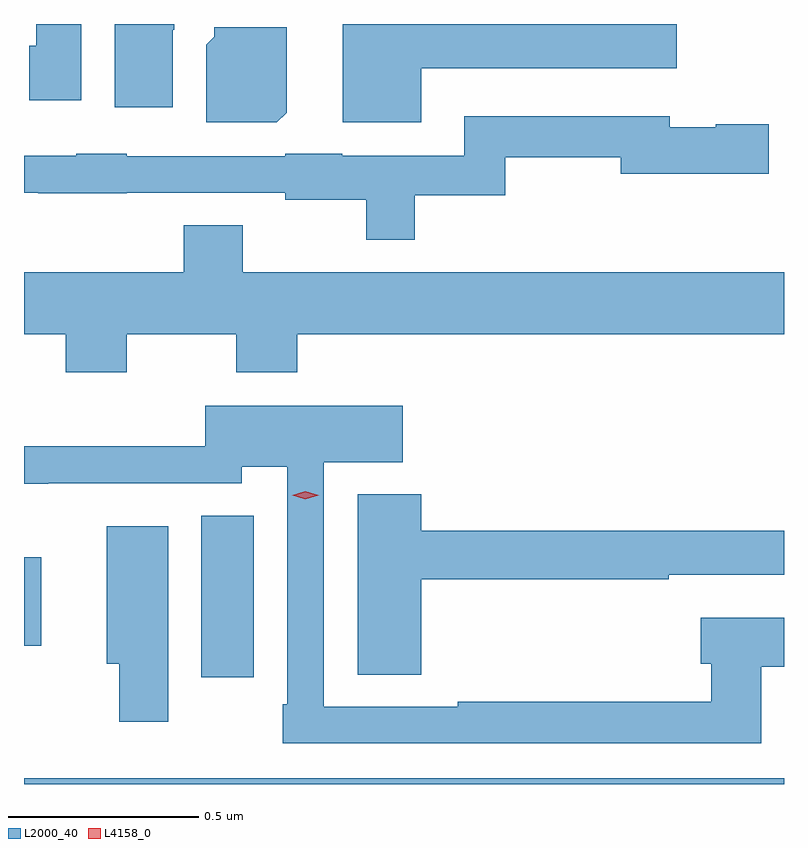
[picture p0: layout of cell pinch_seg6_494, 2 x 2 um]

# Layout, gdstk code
import gdstk
lib = gdstk.Library(unit=1e-6, precision=1e-09)
def R(c, l, rs):  # rectangles x0, y0, x1, y1
    for r in rs: c.add(gdstk.rectangle(r[:2], r[2:], *l))
def P(c, l, *ps):  # polygons
    for p in ps: c.add(gdstk.Polygon(p, *l))
L2000_40 = (2000, 40)
L4158_0 = (4158, 0)

pinch_seg6_494 = lib.new_cell('pinch_seg6_494')
R(pinch_seg6_494, L2000_40, [(831.993,938.161,833.993,938.176), (832.46,938.442,832.597,938.867), (831.993,938.525,832.039,938.758)])
P(pinch_seg6_494, L2000_40, [(833.038,940.044),(833.711,940.044),(833.711,940.161),(833.579,940.161),(833.579,940.16),(833.038,940.16),(833.038,940.161),(832.832,940.161),(832.832,939.902),(833.038,939.902)],
  [(832.144,940.161),(832.025,940.161),(832.025,940.104),(832.007,940.104),(832.007,939.96),(832.144,939.96)],
  [(832.384,940.146),(832.388,940.146),(832.388,940.161),(832.232,940.161),(832.232,939.942),(832.384,939.942)],
  [(832.684,939.928),(832.684,940.153),(832.494,940.153),(832.494,940.128),(832.472,940.106),(832.472,939.902),(832.658,939.902)],
  [(833.021,939.71),(833.26,939.71),(833.26,939.81),(833.564,939.81),(833.564,939.767),(833.953,939.767),(833.953,939.897),(833.814,939.897),(833.814,939.889),(833.692,939.889),(833.692,939.918),(833.151,939.918),(833.151,939.814),(832.83,939.814),(832.83,939.82),(832.68,939.82),(832.68,939.813),(832.263,939.813),(832.263,939.82),(832.131,939.82),(832.131,939.814),(831.993,939.814),(831.993,939.717),(832.031,939.717),(832.031,939.716),(832.263,939.716),(832.263,939.717),(832.68,939.717),(832.68,939.698),(832.893,939.698),(832.893,939.593),(833.021,939.593)],
  [(832.263,939.344),(832.552,939.344),(832.552,939.245),(832.712,939.245),(832.712,939.344),(833.993,939.344),(833.993,939.508),(832.569,939.508),(832.569,939.632),(832.414,939.632),(832.414,939.508),(831.993,939.508),(831.993,939.344),(832.103,939.344),(832.103,939.245),(832.263,939.245)],
  [(833.933,938.47),(833.993,938.47),(833.993,938.599),(833.774,938.599),(833.774,938.477),(833.801,938.477),(833.801,938.377),(833.134,938.377),(833.134,938.364),(832.782,938.364),(832.782,939.008),(832.99,939.008),(832.99,939.157),(832.47,939.157),(832.47,939.05),(831.993,939.05),(831.993,938.951),(832.057,938.951),(832.057,938.952),(832.566,938.952),(832.566,938.996),(832.686,938.996),(832.686,938.371),(832.674,938.371),(832.674,938.268),(833.933,938.268)],
  [(833.038,938.7),(833.69,938.7),(833.69,938.712),(833.993,938.712),(833.993,938.828),(833.038,938.828),(833.038,938.923),(832.871,938.923),(832.871,938.449),(833.038,938.449)],
  [(832.372,938.839),(832.211,938.839),(832.211,938.477),(832.243,938.477),(832.243,938.325),(832.372,938.325)])
P(pinch_seg6_494, L4158_0, [(832.733,938.911),(832.699,938.921),(832.698,938.921),(832.699,938.921),(832.733,938.931),(832.768,938.921),(832.768,938.921),(832.768,938.921)])

lib.write_gds('pinch_seg6_494.gds')
